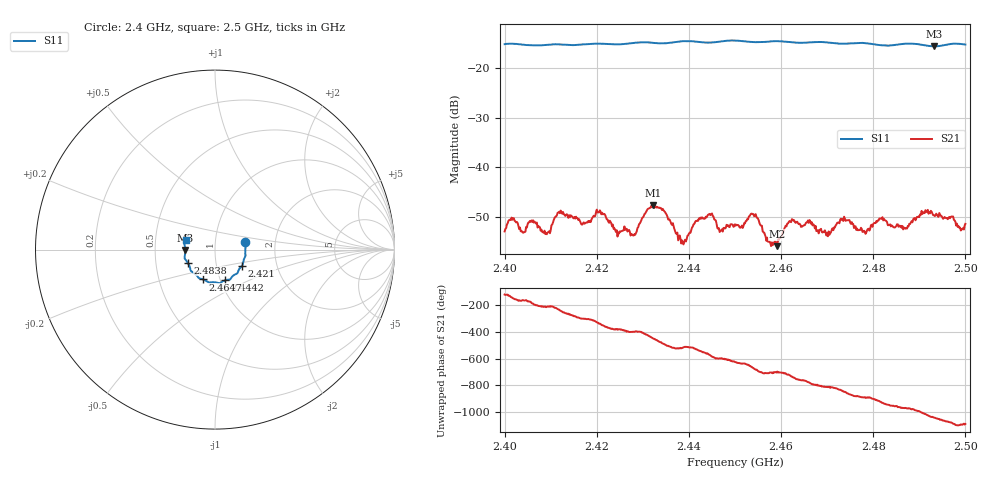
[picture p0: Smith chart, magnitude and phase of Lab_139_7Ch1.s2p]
# Hz S RI R 50
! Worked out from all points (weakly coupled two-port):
!   601 points, 2.4 GHz to 2.5 GHz, reference 50 ohm
!   highest |S21| = -47.70 dB at 2.4322 GHz (marker M1); lowest = -55.9 dB at 2.4592 GHz (marker M2)
!   lowest |S11| = -15.7 dB at 2.4932 GHz (marker M3), VSWR 1.40, Z = 35.8 - j0.104 ohm
!   |S11| at or under -10 dB: start of sweep to end of sweep
!   S12 and S22 are empty: the file has one direction only
!   S11 on the Smith chart (normalised r, x): 2.4 GHz: 1.40, +0.12; 2.421 GHz: 1.33, -0.24; 2.4442 GHz: 1.05, -0.37; 2.4647 GHz: 0.83, -0.28; 2.4838 GHz: 0.73, -0.11; 2.5 GHz: 0.72, +0.08
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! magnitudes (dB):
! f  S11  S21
! 2.4 GHz  -15.2  -53.0
! 2.4015 GHz  -15.1  -50.2
! 2.4093 GHz  -15.3  -53.2
! 2.4122 GHz  -15.3  -48.7
! 2.4167 GHz  -15.3  -51.5
! 2.421 GHz  -15.1  -49.5
! 2.4278 GHz  -15.0  -53.7
! 2.4322 GHz  -14.9  -47.7
! 2.4333 GHz  -15.0  -48.2
! 2.4388 GHz  -14.6  -55.6
! 2.4442 GHz  -14.9  -49.6
! 2.45 GHz  -14.5  -51.5
! 2.454 GHz  -14.8  -49.5
! 2.4592 GHz  -14.6  -55.9
! 2.462 GHz  -14.8  -51.0
! 2.4647 GHz  -14.9  -51.9
! 2.4667 GHz  -14.8  -51.1
! 2.4702 GHz  -14.9  -53.9
! 2.4833 GHz  -15.5  -51.7
! 2.4838 GHz  -15.5  -51.9
! 2.4932 GHz  -15.7  -49.7
! 2.5 GHz  -15.3  -51.4
